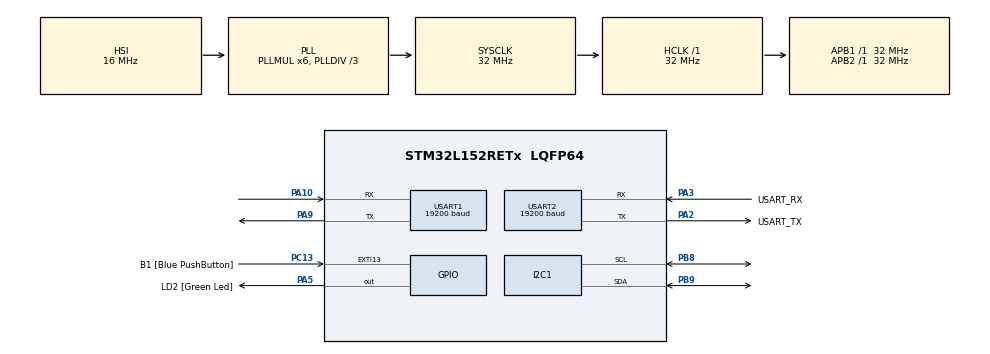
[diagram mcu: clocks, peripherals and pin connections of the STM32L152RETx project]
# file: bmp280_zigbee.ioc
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Dma.Request0=USART1_RX
Dma.USART1_RX.0.Direction=DMA_PERIPH_TO_MEMORY
Dma.USART1_RX.0.Instance=DMA1_Channel5
Dma.USART1_RX.0.MemDataAlignment=DMA_MDATAALIGN_BYTE
Dma.USART1_RX.0.MemInc=DMA_MINC_ENABLE
Dma.USART1_RX.0.Mode=DMA_CIRCULAR
Dma.USART1_RX.0.PeriphDataAlignment=DMA_PDATAALIGN_BYTE
Dma.USART1_RX.0.PeriphInc=DMA_PINC_DISABLE
Dma.USART1_RX.0.Priority=DMA_PRIORITY_LOW
Mcu.Family=STM32L1
Mcu.Name=STM32L152RETx
Mcu.Package=LQFP64
NVIC.DMA1_Channel5_IRQn=true\:0\:0\:false\:false\:true\:false\:true\:true
NVIC.PriorityGroup=NVIC_PRIORITYGROUP_0
PA10.Mode=Asynchronous
PA10.Signal=USART1_RX
PA13.GPIO_Label=TMS
PA13.Mode=Serial_Wire
PA13.Signal=SYS_JTMS-SWDIO
PA14.GPIO_Label=TCK
PA14.Mode=Serial_Wire
PA14.Signal=SYS_JTCK-SWCLK
PA2.GPIO_Label=USART_TX
PA2.Mode=Asynchronous
PA2.Signal=USART2_TX
PA3.GPIO_Label=USART_RX
PA3.Mode=Asynchronous
PA3.Signal=USART2_RX
PA5.GPIO_Label=LD2 [Green Led]
PA5.Signal=GPIO_Output
PA9.Mode=Asynchronous
PA9.Signal=USART1_TX
PB3.GPIO_Label=SWO
PB3.Signal=SYS_JTDO-TRACESWO
PB8.Mode=I2C
PB8.Signal=I2C1_SCL
PB9.Mode=I2C
PB9.Signal=I2C1_SDA
PC13-WKUP2.GPIO_Label=B1 [Blue PushButton]
PC13-WKUP2.Signal=GPXTI13
PC14-OSC32_IN.Mode=LSE-External-Oscillator
PC14-OSC32_IN.Signal=RCC_OSC32_IN
PC15-OSC32_OUT.Mode=LSE-External-Oscillator
PC15-OSC32_OUT.Signal=RCC_OSC32_OUT
PH0-OSC_IN.Mode=HSE-External-Clock-Source
PH0-OSC_IN.Signal=RCC_OSC_IN
PH1-OSC_OUT.Signal=RCC_OSC_OUT
ProjectManager.HeapSize=0x200
ProjectManager.StackSize=0x400
ProjectManager.TargetToolchain=STM32CubeIDE
RCC.48MHZClocksFreq_Value=48000000
RCC.AHBFreq_Value=32000000
RCC.APB1Freq_Value=32000000
RCC.APB1TimFreq_Value=32000000
RCC.APB2Freq_Value=32000000
RCC.APB2TimFreq_Value=32000000
RCC.HCLKFreq_Value=32000000
RCC.HSE_VALUE=8000000
RCC.HSI_VALUE=16000000
RCC.MSI_VALUE=2097000
RCC.PLLDIV=RCC_PLL_DIV3
RCC.PLLMUL=RCC_PLL_MUL6
RCC.RTCClockSelectionVirtual=RCC_RTCCLKSOURCE_LSE
RCC.SYSCLKFreq_VALUE=32000000
RCC.SYSCLKSource=RCC_SYSCLKSOURCE_PLLCLK
RCC.USBOutput=48000000
RCC.VCOOutputFreq_Value=96000000
USART1.BaudRate=19200
USART1.VirtualMode=VM_ASYNC
USART2.BaudRate=19200
USART2.VirtualMode=VM_ASYNC
board=NUCLEO-L152RE

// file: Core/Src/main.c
/* USER CODE BEGIN Header */
/**
  ****************************************************************************
  * @file           : main.c
  * @brief          : Main program body
  ****************************************************************************
  * @attention
  *
  * Copyright (c) 2023 STMicroelectronics.
  * All rights reserved.
  *
  * This software is licensed under terms that can be found in the LICENSE file
  * in the root directory of this software component.
  * If no LICENSE file comes with this software, it is provided AS-IS.
  *
  ****************************************************************************
  */
/* USER CODE END Header */
#include "main.h"
#include "dma.h"
#include "i2c.h"
#include "usart.h"
#include "gpio.h"
#include "lib_lcd.h"
#include <stdio.h>
#include "bmp280.h"

/* USER CODE BEGIN Includes */
BMP280_HandleTypedef bmp280;
static rgb_lcd lcdData;

float pressure, temperature, humidity;
int i=1;

uint16_t size;
uint8_t Data[4];
uint8_t Data1[4];

uint8_t Recep[4];

/* USER CODE END Includes */

void SystemClock_Config(void);

/* USER CODE BEGIN 0 */
void HAL_UART_RxCpltCallback(UART_HandleTypeDef *huart)
{ if(i==1)  {
			lcd_position(&hi2c1,11,0);
		    lcd_print(&hi2c1,(char*)Recep);
		    lcd_position(&hi2c1,15,0);
		    lcd_print(&hi2c1,"%");
		i=2;
			}
	else if(i==2) {

					lcd_position(&hi2c1,11,1);
					lcd_print(&hi2c1,(char*)Recep);

					lcd_position(&hi2c1,15,1);
					lcd_print(&hi2c1,"C");
					i=1;
			}

	}

void HAL_UART_TxCpltCallback(UART_HandleTypeDef *huart)
{ 		//  HAL_UART_Transmit_DMA(&huart1, Data1, 4);

}
/* USER CODE END 0 */

int main(void)
{

  /* MCU Configuration--------------------------------------------------------*/

  /* Reset of all peripherals, Initializes the Flash interface and the Systick. */
  HAL_Init();

  /* Configure the system clock */
  SystemClock_Config();

  /* Initialize all configured peripherals */
  MX_GPIO_Init();
  MX_DMA_Init();
  MX_USART2_UART_Init();
  MX_I2C1_Init();
  MX_USART1_UART_Init();

  lcd_init(&hi2c1, &lcdData); // initialise le lcd
  lcd_position(&hi2c1,0,0);
   lcd_print(&hi2c1,"Humidite ");;
   lcd_position(&hi2c1,0,1);
   lcd_print(&hi2c1,"Temperature ");

   HAL_UART_Receive_DMA (&huart1, Recep, 4);
  /* USER CODE END 2 */
  /* USER CODE BEGIN 2 */
  bmp280_init_default_params(&bmp280.params);
  bmp280.addr = BMP280_I2C_ADDRESS_1;
  bmp280.i2c = &hi2c1;
  /* USER CODE END 2 */

  /* Infinite loop */
  /* USER CODE BEGIN WHILE */
  bmp280_init(&bmp280, &bmp280.params);
  while (1)
  {
	  /* USER CODE END WHILE */
	  	  while (!bmp280_read_float(&bmp280, &temperature, &pressure, &humidity)) {
	  	  			size = sprintf((char *)Data,"Temperature/pressure reading failed\n\r");
	  	  			HAL_UART_Transmit_DMA(&huart1, Data, size);
	  	  			HAL_Delay(2000);
	  	  		}
	  	  pressure=pressure/100.;
	  	 // size = sprintf((char *)Tx,"htgmnj 🙂");
	  	  	//  HAL_UART_Transmit(&huart1, Tx, size, 1000);

	  	  size = sprintf((char *)Data,"%.1f", temperature);
	  	  HAL_UART_Transmit(&huart1, Data, 4,1000);
	  	 HAL_Delay(100);

	  	  size = sprintf((char *)Data,"%.f", pressure);
	  	  if (size==3) {
	  		HAL_UART_Transmit(&huart1,"0",1,1000);
	  		HAL_UART_Transmit(&huart1, Data, 3,1000);
	  	  }
	  	  else {
		  	  HAL_UART_Transmit(&huart1, Data, 4,1000);

	  	  }
	  	/*  lcd_position(&hi2c1,0,1);
	  	  lcd_print(&hi2c1,Data);*/

	      /* USER CODE BEGIN 3 */
	  	 HAL_Delay(1000);
	    }
	    /* USER CODE END 3 */
}

void SystemClock_Config(void)
{
  RCC_OscInitTypeDef RCC_OscInitStruct = {0};
  RCC_ClkInitTypeDef RCC_ClkInitStruct = {0};

  /** Configure the main internal regulator output voltage
  */
  __HAL_PWR_VOLTAGESCALING_CONFIG(PWR_REGULATOR_VOLTAGE_SCALE1);

  /** Initializes the RCC Oscillators according to the specified parameters
  * in the RCC_OscInitTypeDef structure.
  */
  RCC_OscInitStruct.OscillatorType = RCC_OSCILLATORTYPE_HSI;
  RCC_OscInitStruct.HSIState = RCC_HSI_ON;
  RCC_OscInitStruct.HSICalibrationValue = RCC_HSICALIBRATION_DEFAULT;
  RCC_OscInitStruct.PLL.PLLState = RCC_PLL_ON;
  RCC_OscInitStruct.PLL.PLLSource = RCC_PLLSOURCE_HSI;
  RCC_OscInitStruct.PLL.PLLMUL = RCC_PLL_MUL6;
  RCC_OscInitStruct.PLL.PLLDIV = RCC_PLL_DIV3;
  if (HAL_RCC_OscConfig(&RCC_OscInitStruct) != HAL_OK)
  {
    Error_Handler();
  }

  /** Initializes the CPU, AHB and APB buses clocks
  */
  RCC_ClkInitStruct.ClockType = RCC_CLOCKTYPE_HCLK|RCC_CLOCKTYPE_SYSCLK
                              |RCC_CLOCKTYPE_PCLK1|RCC_CLOCKTYPE_PCLK2;
  RCC_ClkInitStruct.SYSCLKSource = RCC_SYSCLKSOURCE_PLLCLK;
  RCC_ClkInitStruct.AHBCLKDivider = RCC_SYSCLK_DIV1;
  RCC_ClkInitStruct.APB1CLKDivider = RCC_HCLK_DIV1;
  RCC_ClkInitStruct.APB2CLKDivider = RCC_HCLK_DIV1;

  if (HAL_RCC_ClockConfig(&RCC_ClkInitStruct, FLASH_LATENCY_1) != HAL_OK)
  {
    Error_Handler();
  }
}

void Error_Handler(void)
{
  __disable_irq();
  while (1)
  {
  }
}
